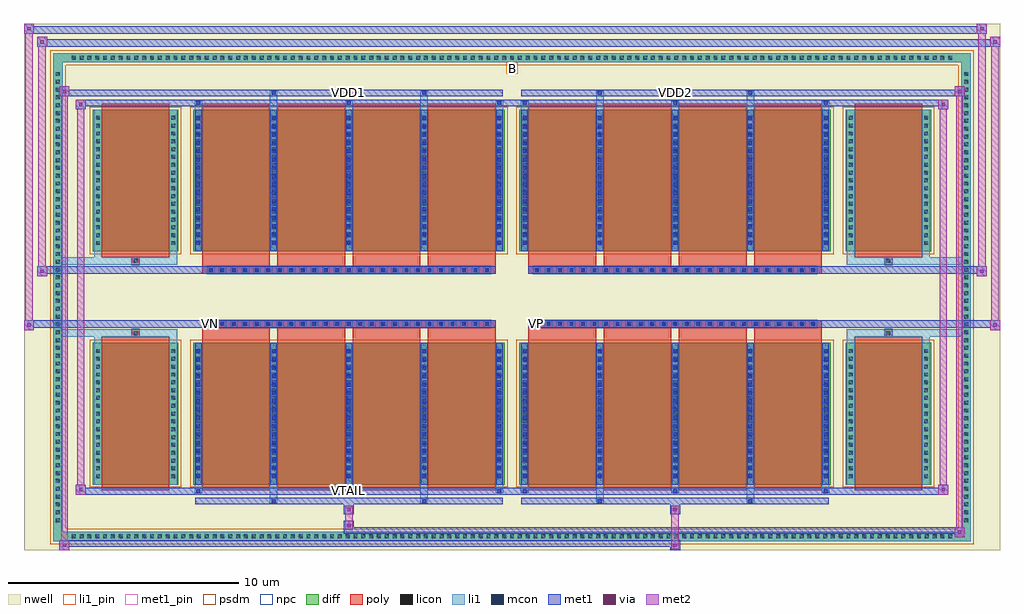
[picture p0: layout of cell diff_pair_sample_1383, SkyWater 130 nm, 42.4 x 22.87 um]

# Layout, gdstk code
import gdstk
lib = gdstk.Library(unit=1e-6, precision=5e-09)
def R(c, l, rs):  # rectangles x0, y0, x1, y1
    for r in rs: c.add(gdstk.rectangle(r[:2], r[2:], *l))
def A(c, l, x, y, w, h, nx, ny, dx, dy):  # array of equal rectangles
    R(c, l, [(x+i*dx, y+j*dy, x+i*dx+w, y+j*dy+h) for i in range(nx) for j in range(ny)])
def P(c, l, *ps):  # polygons
    for p in ps: c.add(gdstk.Polygon(p, *l))
nwell = (64, 20)
diff = (65, 20)
poly = (66, 20)
licon = (66, 44)
li1_pin = (67, 16)
li1 = (67, 20)
mcon = (67, 44)
met1_pin = (68, 16)
met1 = (68, 20)
via = (68, 44)
met2 = (69, 20)
psdm = (94, 20)
npc = (95, 20)

diff_pair_sample_1383 = lib.new_cell('diff_pair_sample_1383')
R(diff_pair_sample_1383, nwell, [(-21.2,-11,21.2,11.87), (-18.52,-9.19,-0.01,-0.805), (0.01,-9.19,18.52,-0.805), (-18.52,0.805,-0.01,9.19), (0.01,0.805,18.52,9.19)])
A(diff_pair_sample_1383, diff, -19.245, -10.6, 0.41, 0.41, 113, 2, 0.34, 20.79)
A(diff_pair_sample_1383, diff, -19.93, -9.895, 0.41, 0.41, 1, 58, 0, 0.34)
A(diff_pair_sample_1383, diff, 19.52, -9.895, 0.41, 0.41, 1, 58, 0, 0.34)
R(diff_pair_sample_1383, diff, [(-19.245,-10.6,19.245,-10.19), (-19.93,-9.895,-19.52,9.895), (19.52,-9.895,19.93,9.895), (-18.21,-8.145,-14.49,-1.985), (-13.85,-8.145,-0.32,-1.985), (0.32,-8.145,13.85,-1.985), (14.49,-8.145,18.21,-1.985), (-18.21,1.985,-14.49,8.145), (-13.85,1.985,-0.32,8.145), (0.32,1.985,13.85,8.145), (14.49,1.985,18.21,8.145), (-19.245,10.19,19.245,10.6)])
P(diff_pair_sample_1383, diff, [(19.93,10.6),(-19.93,10.6),(-19.93,-10.19),(-19.52,-10.19),(-19.52,10.19),(19.52,10.19),(19.52,-10.19),(-19.52,-10.19),(-19.93,-10.19),(-19.93,-10.6),(19.93,-10.6)])
A(diff_pair_sample_1383, poly, -13.46, -8.395, 2.94, 6.66, 4, 2, 3.27, 10.13)
A(diff_pair_sample_1383, poly, 0.71, -8.395, 2.94, 6.66, 4, 2, 3.27, 10.13)
A(diff_pair_sample_1383, poly, -13.46, -1.735, 2.94, 0.4, 4, 2, 3.27, 3.07)
A(diff_pair_sample_1383, poly, 0.71, -1.735, 2.94, 0.4, 4, 2, 3.27, 3.07)
A(diff_pair_sample_1383, poly, -13.25, -1.335, 0.33, 0.33, 25, 2, 0.5, 2.34)
A(diff_pair_sample_1383, poly, 0.92, -1.335, 0.33, 0.33, 25, 2, 0.5, 2.34)
R(diff_pair_sample_1383, poly, [(-17.82,-8.395,-14.88,-1.735), (14.88,-8.395,17.82,-1.735), (-16.515,-1.735,-16.185,-1.405), (-16.515,-1.735,-16.185,-1.405), (16.185,-1.735,16.515,-1.405), (16.185,-1.735,16.515,-1.405), (-13.46,-1.335,-0.71,-1.005), (0.71,-1.335,13.46,-1.005), (-13.46,1.005,-0.71,1.335), (0.71,1.005,13.46,1.335), (-16.515,1.405,-16.185,1.735), (-16.515,1.405,-16.185,1.735), (16.185,1.405,16.515,1.735), (16.185,1.405,16.515,1.735), (-17.82,1.735,-14.88,8.395), (14.88,1.735,17.82,8.395)])
A(diff_pair_sample_1383, licon, -19.125, -10.48, 0.17, 0.17, 113, 2, 0.34, 20.79)
A(diff_pair_sample_1383, licon, -19.81, -9.775, 0.17, 0.17, 1, 58, 0, 0.34)
A(diff_pair_sample_1383, licon, 19.64, -9.775, 0.17, 0.17, 1, 58, 0, 0.34)
A(diff_pair_sample_1383, licon, -18.07, -7.87, 0.17, 0.17, 1, 17, 0, 0.34)
A(diff_pair_sample_1383, licon, -14.8, -7.87, 0.17, 0.17, 1, 17, 0, 0.34)
A(diff_pair_sample_1383, licon, -13.71, -7.87, 0.17, 0.17, 5, 17, 3.27, 0.34)
A(diff_pair_sample_1383, licon, 0.46, -7.87, 0.17, 0.17, 5, 17, 3.27, 0.34)
A(diff_pair_sample_1383, licon, 14.63, -7.87, 0.17, 0.17, 1, 17, 0, 0.34)
A(diff_pair_sample_1383, licon, 17.9, -7.87, 0.17, 0.17, 1, 17, 0, 0.34)
A(diff_pair_sample_1383, licon, -13.17, -1.255, 0.17, 0.17, 25, 2, 0.5, 2.34)
A(diff_pair_sample_1383, licon, 1, -1.255, 0.17, 0.17, 25, 2, 0.5, 2.34)
A(diff_pair_sample_1383, licon, -18.07, 2.26, 0.17, 0.17, 1, 17, 0, 0.34)
A(diff_pair_sample_1383, licon, -14.8, 2.26, 0.17, 0.17, 1, 17, 0, 0.34)
A(diff_pair_sample_1383, licon, -13.71, 2.26, 0.17, 0.17, 5, 17, 3.27, 0.34)
A(diff_pair_sample_1383, licon, 0.46, 2.26, 0.17, 0.17, 5, 17, 3.27, 0.34)
A(diff_pair_sample_1383, licon, 14.63, 2.26, 0.17, 0.17, 1, 17, 0, 0.34)
A(diff_pair_sample_1383, licon, 17.9, 2.26, 0.17, 0.17, 1, 17, 0, 0.34)
R(diff_pair_sample_1383, licon, [(-16.435,-1.655,-16.265,-1.485), (16.265,-1.655,16.435,-1.485), (-16.435,1.485,-16.265,1.655), (16.265,1.485,16.435,1.655)])
R(diff_pair_sample_1383, li1_pin, [(-0.25,9.69,0.25,10.19)])
A(diff_pair_sample_1383, li1, -19.205, -10.56, 0.33, 0.33, 113, 2, 0.34, 20.79)
A(diff_pair_sample_1383, li1, -19.89, -9.855, 0.33, 0.33, 1, 58, 0, 0.34)
A(diff_pair_sample_1383, li1, 19.56, -9.855, 0.33, 0.33, 1, 58, 0, 0.34)
A(diff_pair_sample_1383, li1, -13.79, -8.52, 0.33, 0.375, 3, 2, 6.54, 16.665)
A(diff_pair_sample_1383, li1, -13.71, -8.52, 0.17, 0.17, 3, 2, 6.54, 16.87)
A(diff_pair_sample_1383, li1, 0.38, -8.52, 0.33, 0.375, 3, 2, 6.54, 16.665)
A(diff_pair_sample_1383, li1, 0.46, -8.52, 0.17, 0.17, 3, 2, 6.54, 16.87)
A(diff_pair_sample_1383, li1, -13.79, -8.145, 0.33, 6.16, 5, 2, 3.27, 10.13)
A(diff_pair_sample_1383, li1, 0.38, -8.145, 0.33, 6.16, 5, 2, 3.27, 10.13)
A(diff_pair_sample_1383, li1, -18.15, -7.95, 0.33, 0.33, 1, 17, 0, 0.34)
A(diff_pair_sample_1383, li1, -14.88, -7.95, 0.33, 0.33, 1, 17, 0, 0.34)
A(diff_pair_sample_1383, li1, -13.79, -7.95, 0.33, 0.33, 5, 17, 3.27, 0.34)
A(diff_pair_sample_1383, li1, 0.38, -7.95, 0.33, 0.33, 5, 17, 3.27, 0.34)
A(diff_pair_sample_1383, li1, 14.55, -7.95, 0.33, 0.33, 1, 17, 0, 0.34)
A(diff_pair_sample_1383, li1, 17.82, -7.95, 0.33, 0.33, 1, 17, 0, 0.34)
A(diff_pair_sample_1383, li1, -13.71, -7.85, 0.17, 0.17, 5, 16, 3.27, 0.36)
A(diff_pair_sample_1383, li1, -13.71, -7.85, 0.17, 5.57, 5, 2, 3.27, 10.13)
A(diff_pair_sample_1383, li1, 0.46, -7.85, 0.17, 0.17, 5, 16, 3.27, 0.36)
A(diff_pair_sample_1383, li1, 0.46, -7.85, 0.17, 5.57, 5, 2, 3.27, 10.13)
A(diff_pair_sample_1383, li1, -13.25, -1.335, 0.33, 0.33, 25, 2, 0.5, 2.34)
A(diff_pair_sample_1383, li1, 0.92, -1.335, 0.33, 0.33, 25, 2, 0.5, 2.34)
A(diff_pair_sample_1383, li1, -18.15, 2.18, 0.33, 0.33, 1, 17, 0, 0.34)
A(diff_pair_sample_1383, li1, -14.88, 2.18, 0.33, 0.33, 1, 17, 0, 0.34)
A(diff_pair_sample_1383, li1, -13.79, 2.18, 0.33, 0.33, 5, 17, 3.27, 0.34)
A(diff_pair_sample_1383, li1, 0.38, 2.18, 0.33, 0.33, 5, 17, 3.27, 0.34)
A(diff_pair_sample_1383, li1, 14.55, 2.18, 0.33, 0.33, 1, 17, 0, 0.34)
A(diff_pair_sample_1383, li1, 17.82, 2.18, 0.33, 0.33, 1, 17, 0, 0.34)
A(diff_pair_sample_1383, li1, -13.71, 2.28, 0.17, 0.17, 5, 16, 3.27, 0.36)
A(diff_pair_sample_1383, li1, 0.46, 2.28, 0.17, 0.17, 5, 16, 3.27, 0.36)
R(diff_pair_sample_1383, li1, [(-19.93,-10.6,-19.52,-10.19), (-19.93,-10.6,-19.52,-10.19), (-19.52,-10.6,19.52,-10.19), (19.52,-10.6,19.93,-10.19), (19.52,-10.6,19.93,-10.19), (-19.93,-10.19,-19.52,10.19), (19.52,-10.19,19.93,10.19), (-10.52,-8.95,-10.19,-8.145), (-10.44,-8.95,-10.27,-8.78), (-3.98,-8.95,-3.65,-8.145), (-3.9,-8.95,-3.73,-8.78), (3.65,-8.95,3.98,-8.145), (3.73,-8.95,3.9,-8.78), (10.19,-8.95,10.52,-8.145), (10.27,-8.95,10.44,-8.78), (-18.15,-8.145,-17.82,-1.985), (-14.88,-8.145,-14.55,-1.985), (14.55,-8.145,14.88,-1.985), (17.82,-8.145,18.15,-1.985), (-18.15,-1.985,-17.82,-1.405), (-14.88,-1.985,-14.55,-1.405), (14.55,-1.985,14.88,-1.405), (17.82,-1.985,18.15,-1.405), (-19.93,-1.735,-16.515,-1.405), (-18.15,-1.735,-16.515,-1.405), (-16.515,-1.735,-16.185,-1.405), (-16.185,-1.735,-14.55,-1.405), (14.55,-1.735,16.185,-1.405), (16.185,-1.735,16.515,-1.405), (16.185,-1.735,19.93,-1.405), (16.515,-1.735,18.15,-1.405), (-19.93,1.405,-16.515,1.735), (-18.15,1.405,-16.515,1.735), (-18.15,1.405,-17.82,1.985), (-16.515,1.405,-16.185,1.735), (-16.185,1.405,-14.55,1.735), (-14.88,1.405,-14.55,1.985), (14.55,1.405,16.185,1.735), (14.55,1.405,14.88,1.985), (16.185,1.405,16.515,1.735), (16.185,1.405,19.93,1.735), (16.515,1.405,18.15,1.735), (17.82,1.405,18.15,1.985), (-18.15,1.985,-17.82,8.145), (-14.88,1.985,-14.55,8.145), (14.55,1.985,14.88,8.145), (17.82,1.985,18.15,8.145), (-10.52,8.145,-10.19,8.95), (-3.98,8.145,-3.65,8.95), (3.65,8.145,3.98,8.95), (10.19,8.145,10.52,8.95), (-10.44,8.78,-10.27,8.95), (-3.9,8.78,-3.73,8.95), (3.73,8.78,3.9,8.95), (10.27,8.78,10.44,8.95), (-19.93,10.19,-19.52,10.6), (-19.93,10.19,-19.52,10.6), (-19.52,10.19,19.52,10.6), (19.52,10.19,19.93,10.6), (19.52,10.19,19.93,10.6)])
A(diff_pair_sample_1383, mcon, -13.71, -8.52, 0.17, 0.17, 3, 2, 6.54, 16.87)
A(diff_pair_sample_1383, mcon, 0.46, -8.52, 0.17, 0.17, 3, 2, 6.54, 16.87)
A(diff_pair_sample_1383, mcon, -13.71, -7.85, 0.17, 0.17, 5, 16, 3.27, 0.36)
A(diff_pair_sample_1383, mcon, 0.46, -7.85, 0.17, 0.17, 5, 16, 3.27, 0.36)
A(diff_pair_sample_1383, mcon, -13.17, -1.255, 0.17, 0.17, 25, 2, 0.5, 2.34)
A(diff_pair_sample_1383, mcon, 1, -1.255, 0.17, 0.17, 25, 2, 0.5, 2.34)
A(diff_pair_sample_1383, mcon, -13.71, 2.28, 0.17, 0.17, 5, 16, 3.27, 0.36)
A(diff_pair_sample_1383, mcon, 0.46, 2.28, 0.17, 0.17, 5, 16, 3.27, 0.36)
R(diff_pair_sample_1383, mcon, [(-10.44,-8.95,-10.27,-8.78), (-3.9,-8.95,-3.73,-8.78), (3.73,-8.95,3.9,-8.78), (10.27,-8.95,10.44,-8.78), (-10.44,8.78,-10.27,8.95), (-3.9,8.78,-3.73,8.95), (3.73,8.78,3.9,8.95), (10.27,8.78,10.44,8.95)])
R(diff_pair_sample_1383, met1_pin, [(-7.22,-8.56,-6.95,-8.29), (-13.22,-1.295,-12.95,-1.025), (0.95,-1.295,1.22,-1.025), (-7.22,8.74,-6.95,9.01), (6.95,8.74,7.22,9.01)])
A(diff_pair_sample_1383, met1, -13.77, -8.58, 0.29, 0.29, 3, 2, 6.54, 16.87)
A(diff_pair_sample_1383, met1, 0.4, -8.58, 0.29, 0.29, 3, 2, 6.54, 16.87)
A(diff_pair_sample_1383, met1, -13.77, -8.145, 0.29, 6.16, 5, 2, 3.27, 10.13)
A(diff_pair_sample_1383, met1, 0.4, -8.145, 0.29, 6.16, 5, 2, 3.27, 10.13)
A(diff_pair_sample_1383, met1, -13.77, -7.91, 0.29, 0.29, 5, 16, 3.27, 0.36)
A(diff_pair_sample_1383, met1, 0.4, -7.91, 0.29, 0.29, 5, 16, 3.27, 0.36)
A(diff_pair_sample_1383, met1, -13.23, -1.315, 0.29, 0.29, 25, 2, 0.5, 2.34)
A(diff_pair_sample_1383, met1, 0.94, -1.315, 0.29, 0.29, 25, 2, 0.5, 2.34)
A(diff_pair_sample_1383, met1, -13.77, 2.22, 0.29, 0.29, 5, 16, 3.27, 0.36)
A(diff_pair_sample_1383, met1, 0.4, 2.22, 0.29, 0.29, 5, 16, 3.27, 0.36)
R(diff_pair_sample_1383, met1, [(-19.66,-11,-19.23,-10.57), (6.87,-11,7.3,-10.57), (-19.66,-10.86,7.3,-10.57), (19.23,-10.43,19.66,-10), (-7.3,-10.29,19.66,-10), (-7.3,-10.15,-6.87,-9.72), (-7.3,-9.44,-6.87,-9.01), (6.87,-9.44,7.3,-9.01), (-13.77,-9.01,-0.4,-8.72), (-10.5,-9.01,-10.21,-8.72), (-3.96,-9.01,-3.67,-8.72), (0.4,-9.01,13.77,-8.72), (3.67,-9.01,3.96,-8.72), (10.21,-9.01,10.5,-8.72), (-18.95,-8.58,-18.52,-8.15), (-18.95,-8.58,-13.77,-8.29), (-13.77,-8.58,-0.4,-8.29), (-0.4,-8.58,0.4,-8.29), (0.4,-8.58,13.77,-8.29), (13.77,-8.58,18.95,-8.29), (18.52,-8.58,18.95,-8.15), (-21.2,-1.435,-20.77,-1.005), (20.77,-1.435,21.2,-1.005), (-21.2,-1.335,-0.71,-1.005), (-13.46,-1.335,-0.71,-1.005), (0.71,-1.335,13.46,-1.005), (0.71,-1.335,21.2,-1.005), (-20.63,0.905,-20.2,1.335), (20.2,0.905,20.63,1.335), (-20.63,1.005,-13.46,1.335), (-13.46,1.005,-0.71,1.335), (0.71,1.005,13.46,1.335), (13.46,1.005,20.63,1.335), (-18.95,8.15,-18.52,8.58), (18.52,8.15,18.95,8.58), (-18.95,8.29,-13.77,8.58), (-13.77,8.29,-0.4,8.58), (-0.4,8.29,0.4,8.58), (0.4,8.29,13.77,8.58), (13.77,8.29,18.95,8.58), (-19.66,8.72,-19.23,9.15), (-19.66,8.72,-13.77,9.01), (-13.77,8.72,-0.4,9.01), (-10.5,8.72,-10.21,9.01), (-3.96,8.72,-3.67,9.01), (0.4,8.72,13.77,9.01), (3.67,8.72,3.96,9.01), (10.21,8.72,10.5,9.01), (13.77,8.72,19.66,9.01), (19.23,8.72,19.66,9.15), (-20.63,10.87,-20.2,11.3), (-20.63,10.87,-18.52,11.2), (-18.52,10.87,18.52,11.2), (18.52,10.87,21.2,11.2), (20.77,10.87,21.2,11.3), (-21.2,11.44,-20.77,11.87), (-21.2,11.44,-18.52,11.77), (-18.52,11.44,18.52,11.77), (18.52,11.44,20.63,11.77), (20.2,11.44,20.63,11.87)])
R(diff_pair_sample_1383, via, [(-19.52,-10.86,-19.37,-10.71), (7.01,-10.86,7.16,-10.71), (19.37,-10.29,19.52,-10.14), (-7.16,-10.01,-7.01,-9.86), (-7.16,-9.3,-7.01,-9.15), (7.01,-9.3,7.16,-9.15), (-18.81,-8.44,-18.66,-8.29), (18.66,-8.44,18.81,-8.29), (-21.06,-1.295,-20.91,-1.145), (20.91,-1.295,21.06,-1.145), (-20.49,1.045,-20.34,1.195), (20.34,1.045,20.49,1.195), (-18.81,8.29,-18.66,8.44), (18.66,8.29,18.81,8.44), (-19.52,8.86,-19.37,9.01), (19.37,8.86,19.52,9.01), (-20.49,11.01,-20.34,11.16), (20.91,11.01,21.06,11.16), (-21.06,11.58,-20.91,11.73), (20.34,11.58,20.49,11.73)])
R(diff_pair_sample_1383, met2, [(-19.66,-11,-19.23,-10.57), (-19.59,-11,-19.3,9.15), (-19.3,-11,-19.23,-10.57), (-19.61,-10.95,-19.28,-10.62), (6.92,-10.95,7.25,-10.62), (6.92,-10.62,7.25,-9.39), (19.23,-10.43,19.66,-10), (19.3,-10.43,19.59,9.15), (19.59,-10.43,19.66,-10), (19.28,-10.38,19.61,-10.05), (-7.25,-10.1,-6.92,-9.77), (-7.25,-9.77,-6.92,-9.39), (-7.25,-9.39,-6.92,-9.06), (6.92,-9.39,7.25,-9.06), (-18.95,-8.58,-18.52,-8.15), (-18.88,-8.58,-18.59,8.58), (-18.59,-8.58,-18.52,-8.15), (18.52,-8.58,18.95,-8.15), (18.59,-8.58,18.88,8.58), (18.88,-8.58,18.95,-8.15), (-18.9,-8.53,-18.57,-8.2), (18.57,-8.53,18.9,-8.2), (-21.2,-1.435,-20.77,-1.005), (-21.15,-1.435,-20.82,11.87), (-20.82,-1.435,-20.77,-1.005), (20.77,-1.435,21.2,-1.005), (20.82,-1.435,21.15,11.3), (21.15,-1.435,21.2,-1.005), (-21.15,-1.385,-20.82,-1.055), (20.82,-1.385,21.15,-1.055), (-20.63,0.905,-20.2,1.335), (-20.58,0.905,-20.25,11.3), (-20.25,0.905,-20.2,1.335), (20.2,0.905,20.63,1.335), (20.25,0.905,20.58,11.87), (20.58,0.905,20.63,1.335), (-20.58,0.955,-20.25,1.285), (20.25,0.955,20.58,1.285), (-18.95,8.15,-18.52,8.58), (-18.59,8.15,-18.52,8.58), (18.52,8.15,18.95,8.58), (18.88,8.15,18.95,8.58), (-18.9,8.2,-18.57,8.53), (18.57,8.2,18.9,8.53), (-19.66,8.72,-19.23,9.15), (-19.3,8.72,-19.23,9.15), (19.23,8.72,19.66,9.15), (19.59,8.72,19.66,9.15), (-19.61,8.77,-19.28,9.1), (19.28,8.77,19.61,9.1), (-20.63,10.87,-20.2,11.3), (-20.25,10.87,-20.2,11.3), (20.77,10.87,21.2,11.3), (21.15,10.87,21.2,11.3), (-20.58,10.92,-20.25,11.25), (20.82,10.92,21.15,11.25), (-21.2,11.44,-20.77,11.87), (-20.82,11.44,-20.77,11.87), (20.2,11.44,20.63,11.87), (20.58,11.44,20.63,11.87), (-21.15,11.49,-20.82,11.82), (20.25,11.49,20.58,11.82)])
R(diff_pair_sample_1383, psdm, [(-18.34,-8.275,-14.36,-1.855), (-13.98,-8.275,-0.19,-1.855), (0.19,-8.275,13.98,-1.855), (14.36,-8.275,18.34,-1.855), (-18.34,1.855,-14.36,8.275), (-13.98,1.855,-0.19,8.275), (0.19,1.855,13.98,8.275), (14.36,1.855,18.34,8.275)])
P(diff_pair_sample_1383, psdm, [(20.06,10.73),(-20.06,10.73),(-20.06,-10.06),(-19.39,-10.06),(-19.39,10.06),(19.39,10.06),(19.39,-10.06),(-19.39,-10.06),(-20.06,-10.06),(-20.06,-10.73),(20.06,-10.73)])
A(diff_pair_sample_1383, npc, -13.27, -1.355, 0.37, 0.37, 25, 2, 0.5, 2.34)
A(diff_pair_sample_1383, npc, 0.9, -1.355, 0.37, 0.37, 25, 2, 0.5, 2.34)
R(diff_pair_sample_1383, npc, [(-16.535,-1.755,-16.165,-1.385), (16.165,-1.755,16.535,-1.385), (-13.27,-1.355,-12.4,-0.985), (-13.27,-1.355,-12.4,-0.985), (-12.77,-1.355,-11.9,-0.985), (-12.77,-1.355,-11.9,-0.985), (-12.27,-1.355,-11.4,-0.985), (-12.27,-1.355,-11.4,-0.985), (-11.77,-1.355,-10.9,-0.985), (-11.77,-1.355,-10.9,-0.985), (-11.27,-1.355,-10.4,-0.985), (-11.27,-1.355,-10.4,-0.985), (-10.77,-1.355,-9.9,-0.985), (-10.77,-1.355,-9.9,-0.985), (-10.27,-1.355,-9.4,-0.985), (-10.27,-1.355,-9.4,-0.985), (-9.77,-1.355,-8.9,-0.985), (-9.77,-1.355,-8.9,-0.985), (-9.27,-1.355,-8.4,-0.985), (-9.27,-1.355,-8.4,-0.985), (-8.77,-1.355,-7.9,-0.985), (-8.77,-1.355,-7.9,-0.985), (-8.27,-1.355,-7.4,-0.985), (-8.27,-1.355,-7.4,-0.985), (-7.77,-1.355,-6.9,-0.985), (-7.77,-1.355,-6.9,-0.985), (-7.27,-1.355,-6.4,-0.985), (-7.27,-1.355,-6.4,-0.985), (-6.77,-1.355,-5.9,-0.985), (-6.77,-1.355,-5.9,-0.985), (-6.27,-1.355,-5.4,-0.985), (-6.27,-1.355,-5.4,-0.985), (-5.77,-1.355,-4.9,-0.985), (-5.77,-1.355,-4.9,-0.985), (-5.27,-1.355,-4.4,-0.985), (-5.27,-1.355,-4.4,-0.985), (-4.77,-1.355,-3.9,-0.985), (-4.77,-1.355,-3.9,-0.985), (-4.27,-1.355,-3.4,-0.985), (-4.27,-1.355,-3.4,-0.985), (-3.77,-1.355,-2.9,-0.985), (-3.77,-1.355,-2.9,-0.985), (-3.27,-1.355,-2.4,-0.985), (-3.27,-1.355,-2.4,-0.985), (-2.77,-1.355,-1.9,-0.985), (-2.77,-1.355,-1.9,-0.985), (-2.27,-1.355,-1.4,-0.985), (-2.27,-1.355,-1.4,-0.985), (-1.77,-1.355,-0.9,-0.985), (-1.77,-1.355,-0.9,-0.985), (0.9,-1.355,1.77,-0.985), (0.9,-1.355,1.77,-0.985), (1.4,-1.355,2.27,-0.985), (1.4,-1.355,2.27,-0.985), (1.9,-1.355,2.77,-0.985), (1.9,-1.355,2.77,-0.985), (2.4,-1.355,3.27,-0.985), (2.4,-1.355,3.27,-0.985), (2.9,-1.355,3.77,-0.985), (2.9,-1.355,3.77,-0.985), (3.4,-1.355,4.27,-0.985), (3.4,-1.355,4.27,-0.985), (3.9,-1.355,4.77,-0.985), (3.9,-1.355,4.77,-0.985), (4.4,-1.355,5.27,-0.985), (4.4,-1.355,5.27,-0.985), (4.9,-1.355,5.77,-0.985), (4.9,-1.355,5.77,-0.985), (5.4,-1.355,6.27,-0.985), (5.4,-1.355,6.27,-0.985), (5.9,-1.355,6.77,-0.985), (5.9,-1.355,6.77,-0.985), (6.4,-1.355,7.27,-0.985), (6.4,-1.355,7.27,-0.985), (6.9,-1.355,7.77,-0.985), (6.9,-1.355,7.77,-0.985), (7.4,-1.355,8.27,-0.985), (7.4,-1.355,8.27,-0.985), (7.9,-1.355,8.77,-0.985), (7.9,-1.355,8.77,-0.985), (8.4,-1.355,9.27,-0.985), (8.4,-1.355,9.27,-0.985), (8.9,-1.355,9.77,-0.985), (8.9,-1.355,9.77,-0.985), (9.4,-1.355,10.27,-0.985), (9.4,-1.355,10.27,-0.985), (9.9,-1.355,10.77,-0.985), (9.9,-1.355,10.77,-0.985), (10.4,-1.355,11.27,-0.985), (10.4,-1.355,11.27,-0.985), (10.9,-1.355,11.77,-0.985), (10.9,-1.355,11.77,-0.985), (11.4,-1.355,12.27,-0.985), (11.4,-1.355,12.27,-0.985), (11.9,-1.355,12.77,-0.985), (11.9,-1.355,12.77,-0.985), (12.4,-1.355,13.27,-0.985), (12.4,-1.355,13.27,-0.985), (-13.27,0.985,-12.4,1.355), (-13.27,0.985,-12.4,1.355), (-12.77,0.985,-11.9,1.355), (-12.77,0.985,-11.9,1.355), (-12.27,0.985,-11.4,1.355), (-12.27,0.985,-11.4,1.355), (-11.77,0.985,-10.9,1.355), (-11.77,0.985,-10.9,1.355), (-11.27,0.985,-10.4,1.355), (-11.27,0.985,-10.4,1.355), (-10.77,0.985,-9.9,1.355), (-10.77,0.985,-9.9,1.355), (-10.27,0.985,-9.4,1.355), (-10.27,0.985,-9.4,1.355), (-9.77,0.985,-8.9,1.355), (-9.77,0.985,-8.9,1.355), (-9.27,0.985,-8.4,1.355), (-9.27,0.985,-8.4,1.355), (-8.77,0.985,-7.9,1.355), (-8.77,0.985,-7.9,1.355), (-8.27,0.985,-7.4,1.355), (-8.27,0.985,-7.4,1.355), (-7.77,0.985,-6.9,1.355), (-7.77,0.985,-6.9,1.355), (-7.27,0.985,-6.4,1.355), (-7.27,0.985,-6.4,1.355), (-6.77,0.985,-5.9,1.355), (-6.77,0.985,-5.9,1.355), (-6.27,0.985,-5.4,1.355), (-6.27,0.985,-5.4,1.355), (-5.77,0.985,-4.9,1.355), (-5.77,0.985,-4.9,1.355), (-5.27,0.985,-4.4,1.355), (-5.27,0.985,-4.4,1.355), (-4.77,0.985,-3.9,1.355), (-4.77,0.985,-3.9,1.355), (-4.27,0.985,-3.4,1.355), (-4.27,0.985,-3.4,1.355), (-3.77,0.985,-2.9,1.355), (-3.77,0.985,-2.9,1.355), (-3.27,0.985,-2.4,1.355), (-3.27,0.985,-2.4,1.355), (-2.77,0.985,-1.9,1.355), (-2.77,0.985,-1.9,1.355), (-2.27,0.985,-1.4,1.355), (-2.27,0.985,-1.4,1.355), (-1.77,0.985,-0.9,1.355), (-1.77,0.985,-0.9,1.355), (0.9,0.985,1.77,1.355), (0.9,0.985,1.77,1.355), (1.4,0.985,2.27,1.355), (1.4,0.985,2.27,1.355), (1.9,0.985,2.77,1.355), (1.9,0.985,2.77,1.355), (2.4,0.985,3.27,1.355), (2.4,0.985,3.27,1.355), (2.9,0.985,3.77,1.355), (2.9,0.985,3.77,1.355), (3.4,0.985,4.27,1.355), (3.4,0.985,4.27,1.355), (3.9,0.985,4.77,1.355), (3.9,0.985,4.77,1.355), (4.4,0.985,5.27,1.355), (4.4,0.985,5.27,1.355), (4.9,0.985,5.77,1.355), (4.9,0.985,5.77,1.355), (5.4,0.985,6.27,1.355), (5.4,0.985,6.27,1.355), (5.9,0.985,6.77,1.355), (5.9,0.985,6.77,1.355), (6.4,0.985,7.27,1.355), (6.4,0.985,7.27,1.355), (6.9,0.985,7.77,1.355), (6.9,0.985,7.77,1.355), (7.4,0.985,8.27,1.355), (7.4,0.985,8.27,1.355), (7.9,0.985,8.77,1.355), (7.9,0.985,8.77,1.355), (8.4,0.985,9.27,1.355), (8.4,0.985,9.27,1.355), (8.9,0.985,9.77,1.355), (8.9,0.985,9.77,1.355), (9.4,0.985,10.27,1.355), (9.4,0.985,10.27,1.355), (9.9,0.985,10.77,1.355), (9.9,0.985,10.77,1.355), (10.4,0.985,11.27,1.355), (10.4,0.985,11.27,1.355), (10.9,0.985,11.77,1.355), (10.9,0.985,11.77,1.355), (11.4,0.985,12.27,1.355), (11.4,0.985,12.27,1.355), (11.9,0.985,12.77,1.355), (11.9,0.985,12.77,1.355), (12.4,0.985,13.27,1.355), (12.4,0.985,13.27,1.355), (-16.535,1.385,-16.165,1.755), (16.165,1.385,16.535,1.755)])
diff_pair_sample_1383.add(gdstk.Label('VTAIL', (-7.085,-8.425), layer=68, texttype=5))
diff_pair_sample_1383.add(gdstk.Label('VN', (-13.085,-1.16), layer=68, texttype=5))
diff_pair_sample_1383.add(gdstk.Label('VP', (1.085,-1.16), layer=68, texttype=5))
diff_pair_sample_1383.add(gdstk.Label('B', (0,9.94), layer=67, texttype=5))
diff_pair_sample_1383.add(gdstk.Label('VDD2', (7.085,8.875), layer=68, texttype=5))
diff_pair_sample_1383.add(gdstk.Label('VDD1', (-7.085,8.875), layer=68, texttype=5))

lib.write_gds('diff_pair_sample_1383.gds')
